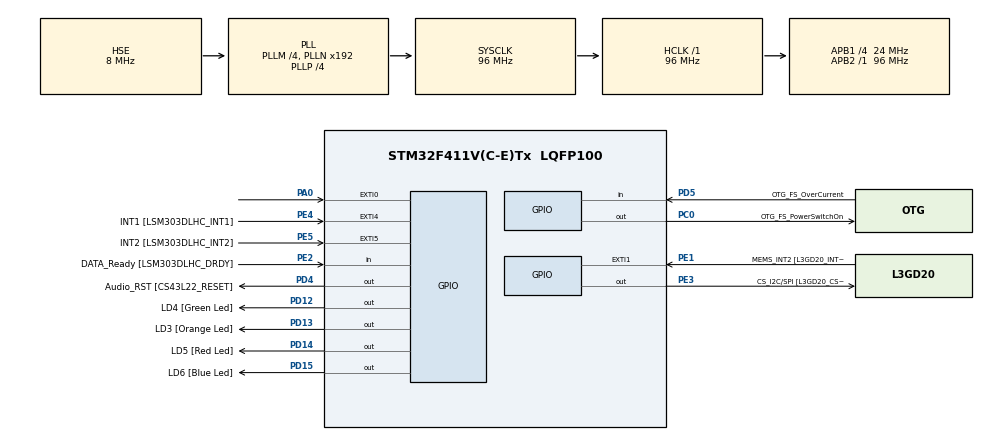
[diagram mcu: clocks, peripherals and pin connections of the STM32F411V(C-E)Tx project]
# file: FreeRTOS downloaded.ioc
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Mcu.Family=STM32F4
Mcu.Name=STM32F411V(C-E)Tx
Mcu.Package=LQFP100
NVIC.PriorityGroup=NVIC_PRIORITYGROUP_4
NVIC.TIM5_IRQn=true\:0\:0\:false\:false\:true\:false\:true\:true
NVIC.TimeBase=TIM5_IRQn
NVIC.TimeBaseIP=TIM5
PA0-WKUP.GPIO_ModeDefaultEXTI=GPIO_MODE_EVT_RISING
PA0-WKUP.Signal=GPXTI0
PA10.GPIO_Label=OTG_FS_ID
PA10.Signal=USB_OTG_FS_ID
PA11.GPIO_Label=OTG_FS_DM
PA11.Signal=USB_OTG_FS_DM
PA12.GPIO_Label=OTG_FS_DP
PA12.Signal=USB_OTG_FS_DP
PA13.GPIO_Label=SWDIO
PA13.Signal=SYS_JTMS-SWDIO
PA14.GPIO_Label=SWCLK
PA14.Signal=SYS_JTCK-SWCLK
PA4.GPIO_Label=I2S3_WS [CS43L22_LRCK]
PA4.GPIO_Mode=GPIO_MODE_AF_PP
PA4.GPIO_PuPd=GPIO_NOPULL
PA4.GPIO_Speed=GPIO_SPEED_FREQ_LOW
PA4.Signal=I2S3_WS
PA5.GPIO_Label=SPI1_SCK [L3GD20_SC/SPC]
PA5.Signal=SPI1_SCK
PA6.GPIO_Label=SPI1_MISO [L3GD20_AS0/SDO]
PA6.Signal=SPI1_MISO
PA7.GPIO_Label=SPI1_MOSI [L3GD20_SDA/SDI/SDO]
PA7.Signal=SPI1_MOSI
PA9.GPIO_Label=VBUS_FS
PA9.Signal=USB_OTG_FS_VBUS
PB10.GPIO_Label=CLK_IN [MP45DT02_CLK]
PB10.Signal=I2S2_CK
PB12.Signal=I2S2_WS
PB3.GPIO_Label=SWO
PB3.Signal=SYS_JTDO-SWO
PB6.GPIO_Label=Audio_SCL [CS43L22_SCL]
PB6.GPIO_Mode=GPIO_MODE_AF_OD
PB6.GPIO_Pu=GPIO_PULLUP
PB6.GPIO_PuPd=GPIO_NOPULL
PB6.GPIO_Speed=GPIO_SPEED_FREQ_LOW
PB6.Signal=I2C1_SCL
PB9.GPIO_Label=Audio_SDA [CS43L22_SDA]
PB9.GPIO_Mode=GPIO_MODE_AF_OD
PB9.GPIO_Pu=GPIO_PULLUP
PB9.GPIO_PuPd=GPIO_NOPULL
PB9.GPIO_Speed=GPIO_SPEED_FREQ_LOW
PB9.Signal=I2C1_SDA
PC0.GPIO_Label=OTG_FS_PowerSwitchOn
PC0.PinState=GPIO_PIN_SET
PC0.Signal=GPIO_Output
PC10.GPIO_Label=I2S3_SCK [CS43L22_SCLK]
PC10.GPIO_Mode=GPIO_MODE_AF_PP
PC10.GPIO_PuPd=GPIO_NOPULL
PC10.GPIO_Speed=GPIO_SPEED_FREQ_LOW
PC10.Signal=I2S3_CK
PC12.GPIO_Label=I2S3_SD [CS43L22_SDIN]
PC12.GPIO_Mode=GPIO_MODE_AF_PP
PC12.GPIO_PuPd=GPIO_NOPULL
PC12.GPIO_Speed=GPIO_SPEED_FREQ_LOW
PC12.Signal=I2S3_SD
PC14-OSC32_IN.GPIO_Label=PC14-OSC32_IN
PC14-OSC32_IN.Signal=RCC_OSC32_IN
PC15-OSC32_OUT.GPIO_Label=PC15-OSC32_OUT
PC15-OSC32_OUT.Signal=RCC_OSC32_OUT
PC3.GPIO_Label=PDM_OUT [MP45DT02_DOUT]
PC3.Signal=I2S2_SD
PC7.GPIO_Label=I2S3_MCK [CS43L22_MCLK]
PC7.GPIO_Mode=GPIO_MODE_AF_PP
PC7.GPIO_PuPd=GPIO_NOPULL
PC7.GPIO_Speed=GPIO_SPEED_FREQ_LOW
PC7.Signal=I2S3_MCK
PD12.GPIO_Label=LD4 [Green Led]
PD12.GPIO_PuPd=GPIO_NOPULL
PD12.GPIO_Speed=GPIO_SPEED_FREQ_LOW
PD12.Signal=GPIO_Output
PD13.GPIO_Label=LD3 [Orange Led]
PD13.GPIO_PuPd=GPIO_NOPULL
PD13.GPIO_Speed=GPIO_SPEED_FREQ_LOW
PD13.Signal=GPIO_Output
PD14.GPIO_Label=LD5 [Red Led]
PD14.GPIO_PuPd=GPIO_NOPULL
PD14.GPIO_Speed=GPIO_SPEED_FREQ_LOW
PD14.Signal=GPIO_Output
PD15.GPIO_Label=LD6 [Blue Led]
PD15.GPIO_PuPd=GPIO_NOPULL
PD15.GPIO_Speed=GPIO_SPEED_FREQ_LOW
PD15.Signal=GPIO_Output
PD4.GPIO_Label=Audio_RST [CS43L22_RESET]
PD4.Signal=GPIO_Output
PD5.GPIO_Label=OTG_FS_OverCurrent
PD5.Signal=GPIO_Input
PE1.GPIO_Label=MEMS_INT2 [L3GD20_INT2]
PE1.GPIO_ModeDefaultEXTI=GPIO_MODE_EVT_RISING
PE1.Signal=GPXTI1
PE2.GPIO_Label=DATA_Ready [LSM303DLHC_DRDY]
PE2.Signal=GPIO_Input
PE3.GPIO_Label=CS_I2C/SPI [L3GD20_CS_I2C/SPI]
PE3.Signal=GPIO_Output
PE4.GPIO_Label=INT1 [LSM303DLHC_INT1]
PE4.GPIO_ModeDefaultEXTI=GPIO_MODE_EVT_RISING
PE4.Signal=GPXTI4
PE5.GPIO_Label=INT2 [LSM303DLHC_INT2]
PE5.GPIO_ModeDefaultEXTI=GPIO_MODE_EVT_RISING
PE5.Signal=GPXTI5
PH0\ -\ OSC_IN.GPIO_Label=PH0-OSC_IN
PH0\ -\ OSC_IN.Mode=HSE-External-Oscillator
PH0\ -\ OSC_IN.Signal=RCC_OSC_IN
PH1\ -\ OSC_OUT.GPIO_Label=PH1-OSC_OUT
PH1\ -\ OSC_OUT.Mode=HSE-External-Oscillator
PH1\ -\ OSC_OUT.Signal=RCC_OSC_OUT
ProjectManager.HeapSize=0x200
ProjectManager.StackSize=0x400
ProjectManager.TargetToolchain=STM32CubeIDE
RCC.48MHZClocksFreq_Value=48000000
RCC.AHBFreq_Value=96000000
RCC.APB1CLKDivider=RCC_HCLK_DIV4
RCC.APB1Freq_Value=24000000
RCC.APB1TimFreq_Value=48000000
RCC.APB2Freq_Value=96000000
RCC.APB2TimFreq_Value=96000000
RCC.CortexFreq_Value=96000000
RCC.HCLKFreq_Value=96000000
RCC.HSE_VALUE=8000000
RCC.HSI_VALUE=16000000
RCC.LSE_VALUE=32768
RCC.PLLI2SM=5
RCC.PLLI2SN=200
RCC.PLLM=4
RCC.PLLP=RCC_PLLP_DIV4
RCC.PLLQ=8
RCC.PLLSourceVirtual=RCC_PLLSOURCE_HSE
RCC.SYSCLKFreq_VALUE=96000000
RCC.SYSCLKSource=RCC_SYSCLKSOURCE_PLLCLK
RCC.VCOOutputFreq_Value=384000000
VP_SYS_VS_tim5.Mode=TIM5
board=STM32F411E-DISCO

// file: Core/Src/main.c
/* USER CODE BEGIN Header */
/**
  ******************************************************************************
  * @file           : main.c
  * @brief          : Main program body
  ******************************************************************************
  * @attention
  *
  * Copyright (c) 2024 STMicroelectronics.
  * All rights reserved.
  *
  * This software is licensed under terms that can be found in the LICENSE file
  * in the root directory of this software component.
  * If no LICENSE file comes with this software, it is provided AS-IS.
  *
  ******************************************************************************
  */
/* USER CODE END Header */
#include "main.h"

/* USER CODE BEGIN Includes */
#include "FreeRTOS.h"
#include "task.h"
/* USER CODE END Includes */

/* USER CODE BEGIN PV */
int counter;
int counter2;
/* USER CODE END PV */

void SystemClock_Config(void);
static void MX_GPIO_Init(void);
/* USER CODE BEGIN PFP */
void TaskTestA(void *pvParameters);
void TaskTestB(void *pvParameters);
/* USER CODE END PFP */

/* USER CODE BEGIN 0 */
void TaskTestA(void *pvParameters)
{
	while(1)
	{
		HAL_GPIO_TogglePin(GPIOD, GPIO_PIN_14);
		counter++;
		vTaskDelay(1000);
	}
}

void TaskTestB(void *pvParameters)
{
	while(1)
	{
		HAL_GPIO_TogglePin(GPIOD, GPIO_PIN_15);
		counter2++;
		vTaskDelay(3000);
	}

}

/* USER CODE END 0 */

int main(void)
{

  /* MCU Configuration--------------------------------------------------------*/

  /* Reset of all peripherals, Initializes the Flash interface and the Systick. */
  HAL_Init();

  /* Configure the system clock */
  SystemClock_Config();

  /* Initialize all configured peripherals */
  MX_GPIO_Init();

  /* Infinite loop */
  /* USER CODE BEGIN WHILE */
  //HAL_GPIO_TogglePin(GPIOD, GPIO_PIN_14);
  //HAL_GPIO_TogglePin(GPIOD, GPIO_PIN_15);
  xTaskCreate(TaskTestA, "T1", 200, NULL, 1, NULL);
  xTaskCreate(TaskTestB, "T2", 200, NULL, 1, NULL);
  vTaskStartScheduler();
  while (1)
  {
    /* USER CODE END WHILE */

  }
}

void SystemClock_Config(void)
{
  RCC_OscInitTypeDef RCC_OscInitStruct = {0};
  RCC_ClkInitTypeDef RCC_ClkInitStruct = {0};

  /** Configure the main internal regulator output voltage
  */
  __HAL_RCC_PWR_CLK_ENABLE();
  __HAL_PWR_VOLTAGESCALING_CONFIG(PWR_REGULATOR_VOLTAGE_SCALE1);

  /** Initializes the RCC Oscillators according to the specified parameters
  * in the RCC_OscInitTypeDef structure.
  */
  RCC_OscInitStruct.OscillatorType = RCC_OSCILLATORTYPE_HSE;
  RCC_OscInitStruct.HSEState = RCC_HSE_ON;
  RCC_OscInitStruct.PLL.PLLState = RCC_PLL_ON;
  RCC_OscInitStruct.PLL.PLLSource = RCC_PLLSOURCE_HSE;
  RCC_OscInitStruct.PLL.PLLM = 4;
  RCC_OscInitStruct.PLL.PLLN = 192;
  RCC_OscInitStruct.PLL.PLLP = RCC_PLLP_DIV4;
  RCC_OscInitStruct.PLL.PLLQ = 8;
  if (HAL_RCC_OscConfig(&RCC_OscInitStruct) != HAL_OK)
  {
    Error_Handler();
  }

  /** Initializes the CPU, AHB and APB buses clocks
  */
  RCC_ClkInitStruct.ClockType = RCC_CLOCKTYPE_HCLK|RCC_CLOCKTYPE_SYSCLK
                              |RCC_CLOCKTYPE_PCLK1|RCC_CLOCKTYPE_PCLK2;
  RCC_ClkInitStruct.SYSCLKSource = RCC_SYSCLKSOURCE_PLLCLK;
  RCC_ClkInitStruct.AHBCLKDivider = RCC_SYSCLK_DIV1;
  RCC_ClkInitStruct.APB1CLKDivider = RCC_HCLK_DIV4;
  RCC_ClkInitStruct.APB2CLKDivider = RCC_HCLK_DIV1;

  if (HAL_RCC_ClockConfig(&RCC_ClkInitStruct, FLASH_LATENCY_3) != HAL_OK)
  {
    Error_Handler();
  }
}

static void MX_GPIO_Init(void)
{
  GPIO_InitTypeDef GPIO_InitStruct = {0};

  /* GPIO Ports Clock Enable */
  __HAL_RCC_GPIOE_CLK_ENABLE();
  __HAL_RCC_GPIOC_CLK_ENABLE();
  __HAL_RCC_GPIOH_CLK_ENABLE();
  __HAL_RCC_GPIOA_CLK_ENABLE();
  __HAL_RCC_GPIOB_CLK_ENABLE();
  __HAL_RCC_GPIOD_CLK_ENABLE();

  /*Configure GPIO pin Output Level */
  HAL_GPIO_WritePin(CS_I2C_SPI_GPIO_Port, CS_I2C_SPI_Pin, GPIO_PIN_RESET);

  /*Configure GPIO pin Output Level */
  HAL_GPIO_WritePin(OTG_FS_PowerSwitchOn_GPIO_Port, OTG_FS_PowerSwitchOn_Pin, GPIO_PIN_SET);

  /*Configure GPIO pin Output Level */
  HAL_GPIO_WritePin(GPIOD, LD4_Pin|LD3_Pin|LD5_Pin|LD6_Pin
                          |Audio_RST_Pin, GPIO_PIN_RESET);

  /*Configure GPIO pin : DATA_Ready_Pin */
  GPIO_InitStruct.Pin = DATA_Ready_Pin;
  GPIO_InitStruct.Mode = GPIO_MODE_INPUT;
  GPIO_InitStruct.Pull = GPIO_NOPULL;
  HAL_GPIO_Init(DATA_Ready_GPIO_Port, &GPIO_InitStruct);

  /*Configure GPIO pin : CS_I2C_SPI_Pin */
  GPIO_InitStruct.Pin = CS_I2C_SPI_Pin;
  GPIO_InitStruct.Mode = GPIO_MODE_OUTPUT_PP;
  GPIO_InitStruct.Pull = GPIO_NOPULL;
  GPIO_InitStruct.Speed = GPIO_SPEED_FREQ_LOW;
  HAL_GPIO_Init(CS_I2C_SPI_GPIO_Port, &GPIO_InitStruct);

  /*Configure GPIO pins : INT1_Pin INT2_Pin MEMS_INT2_Pin */
  GPIO_InitStruct.Pin = INT1_Pin|INT2_Pin|MEMS_INT2_Pin;
  GPIO_InitStruct.Mode = GPIO_MODE_EVT_RISING;
  GPIO_InitStruct.Pull = GPIO_NOPULL;
  HAL_GPIO_Init(GPIOE, &GPIO_InitStruct);

  /*Configure GPIO pin : OTG_FS_PowerSwitchOn_Pin */
  GPIO_InitStruct.Pin = OTG_FS_PowerSwitchOn_Pin;
  GPIO_InitStruct.Mode = GPIO_MODE_OUTPUT_PP;
  GPIO_InitStruct.Pull = GPIO_NOPULL;
  GPIO_InitStruct.Speed = GPIO_SPEED_FREQ_LOW;
  HAL_GPIO_Init(OTG_FS_PowerSwitchOn_GPIO_Port, &GPIO_InitStruct);

  /*Configure GPIO pin : PDM_OUT_Pin */
  GPIO_InitStruct.Pin = PDM_OUT_Pin;
  GPIO_InitStruct.Mode = GPIO_MODE_AF_PP;
  GPIO_InitStruct.Pull = GPIO_NOPULL;
  GPIO_InitStruct.Speed = GPIO_SPEED_FREQ_LOW;
  GPIO_InitStruct.Alternate = GPIO_AF5_SPI2;
  HAL_GPIO_Init(PDM_OUT_GPIO_Port, &GPIO_InitStruct);

  /*Configure GPIO pin : PA0 */
  GPIO_InitStruct.Pin = GPIO_PIN_0;
  GPIO_InitStruct.Mode = GPIO_MODE_EVT_RISING;
  GPIO_InitStruct.Pull = GPIO_NOPULL;
  HAL_GPIO_Init(GPIOA, &GPIO_InitStruct);

  /*Configure GPIO pin : I2S3_WS_Pin */
  GPIO_InitStruct.Pin = I2S3_WS_Pin;
  GPIO_InitStruct.Mode = GPIO_MODE_AF_PP;
  GPIO_InitStruct.Pull = GPIO_NOPULL;
  GPIO_InitStruct.Speed = GPIO_SPEED_FREQ_LOW;
  GPIO_InitStruct.Alternate = GPIO_AF6_SPI3;
  HAL_GPIO_Init(I2S3_WS_GPIO_Port, &GPIO_InitStruct);

  /*Configure GPIO pins : SPI1_SCK_Pin SPI1_MISO_Pin SPI1_MOSI_Pin */
  GPIO_InitStruct.Pin = SPI1_SCK_Pin|SPI1_MISO_Pin|SPI1_MOSI_Pin;
  GPIO_InitStruct.Mode = GPIO_MODE_AF_PP;
  GPIO_InitStruct.Pull = GPIO_NOPULL;
  GPIO_InitStruct.Speed = GPIO_SPEED_FREQ_VERY_HIGH;
  GPIO_InitStruct.Alternate = GPIO_AF5_SPI1;
  HAL_GPIO_Init(GPIOA, &GPIO_InitStruct);

  /*Configure GPIO pins : CLK_IN_Pin PB12 */
  GPIO_InitStruct.Pin = CLK_IN_Pin|GPIO_PIN_12;
  GPIO_InitStruct.Mode = GPIO_MODE_AF_PP;
  GPIO_InitStruct.Pull = GPIO_NOPULL;
  GPIO_InitStruct.Speed = GPIO_SPEED_FREQ_LOW;
  GPIO_InitStruct.Alternate = GPIO_AF5_SPI2;
  HAL_GPIO_Init(GPIOB, &GPIO_InitStruct);

  /*Configure GPIO pins : LD4_Pin LD3_Pin LD5_Pin LD6_Pin
                           Audio_RST_Pin */
  GPIO_InitStruct.Pin = LD4_Pin|LD3_Pin|LD5_Pin|LD6_Pin
                          |Audio_RST_Pin;
  GPIO_InitStruct.Mode = GPIO_MODE_OUTPUT_PP;
  GPIO_InitStruct.Pull = GPIO_NOPULL;
  GPIO_InitStruct.Speed = GPIO_SPEED_FREQ_LOW;
  HAL_GPIO_Init(GPIOD, &GPIO_InitStruct);

  /*Configure GPIO pins : I2S3_MCK_Pin I2S3_SCK_Pin I2S3_SD_Pin */
  GPIO_InitStruct.Pin = I2S3_MCK_Pin|I2S3_SCK_Pin|I2S3_SD_Pin;
  GPIO_InitStruct.Mode = GPIO_MODE_AF_PP;
  GPIO_InitStruct.Pull = GPIO_NOPULL;
  GPIO_InitStruct.Speed = GPIO_SPEED_FREQ_LOW;
  GPIO_InitStruct.Alternate = GPIO_AF6_SPI3;
  HAL_GPIO_Init(GPIOC, &GPIO_InitStruct);

  /*Configure GPIO pin : VBUS_FS_Pin */
  GPIO_InitStruct.Pin = VBUS_FS_Pin;
  GPIO_InitStruct.Mode = GPIO_MODE_INPUT;
  GPIO_InitStruct.Pull = GPIO_NOPULL;
  HAL_GPIO_Init(VBUS_FS_GPIO_Port, &GPIO_InitStruct);

  /*Configure GPIO pins : OTG_FS_ID_Pin OTG_FS_DM_Pin OTG_FS_DP_Pin */
  GPIO_InitStruct.Pin = OTG_FS_ID_Pin|OTG_FS_DM_Pin|OTG_FS_DP_Pin;
  GPIO_InitStruct.Mode = GPIO_MODE_AF_PP;
  GPIO_InitStruct.Pull = GPIO_NOPULL;
  GPIO_InitStruct.Speed = GPIO_SPEED_FREQ_VERY_HIGH;
  GPIO_InitStruct.Alternate = GPIO_AF10_OTG_FS;
  HAL_GPIO_Init(GPIOA, &GPIO_InitStruct);

  /*Configure GPIO pin : OTG_FS_OverCurrent_Pin */
  GPIO_InitStruct.Pin = OTG_FS_OverCurrent_Pin;
  GPIO_InitStruct.Mode = GPIO_MODE_INPUT;
  GPIO_InitStruct.Pull = GPIO_NOPULL;
  HAL_GPIO_Init(OTG_FS_OverCurrent_GPIO_Port, &GPIO_InitStruct);

  /*Configure GPIO pins : Audio_SCL_Pin Audio_SDA_Pin */
  GPIO_InitStruct.Pin = Audio_SCL_Pin|Audio_SDA_Pin;
  GPIO_InitStruct.Mode = GPIO_MODE_AF_OD;
  GPIO_InitStruct.Pull = GPIO_PULLUP;
  GPIO_InitStruct.Speed = GPIO_SPEED_FREQ_LOW;
  GPIO_InitStruct.Alternate = GPIO_AF4_I2C1;
  HAL_GPIO_Init(GPIOB, &GPIO_InitStruct);

}

void HAL_TIM_PeriodElapsedCallback(TIM_HandleTypeDef *htim)
{
  if (htim->Instance == TIM5) {
    HAL_IncTick();
  }
}

void Error_Handler(void)
{
  __disable_irq();
  while (1)
  {
  }
}
